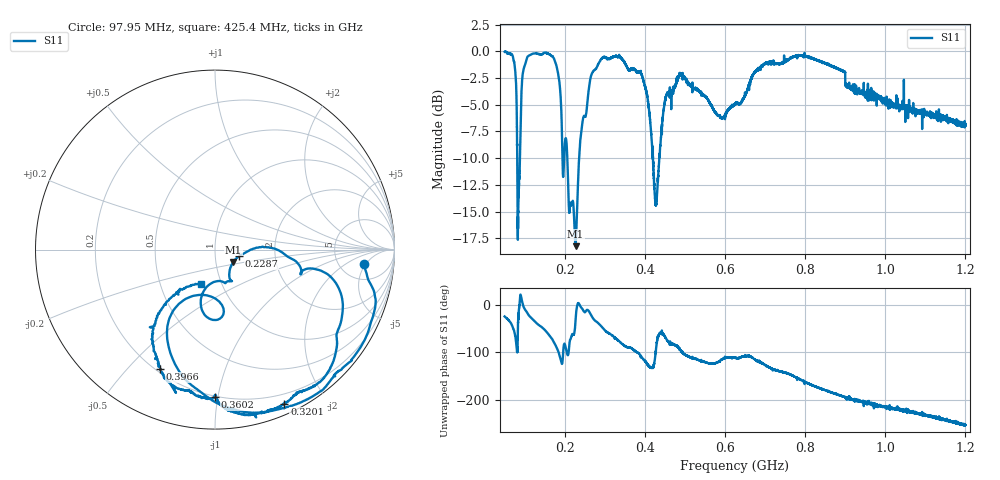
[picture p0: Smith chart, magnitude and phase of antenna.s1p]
! Calibrated high-resolution NanoVNA antenna measurement
# Hz S RI R 50
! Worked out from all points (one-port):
!   40001 points, 50 MHz to 1.2 GHz, reference 50 ohm
!   lowest |S11| = -18.2 dB at 227.1 MHz (marker M1), VSWR 1.28, Z = 60.7 - j8.44 ohm
!   |S11| at or under -10 dB: 81.51 MHz to 88.47 MHz (6.961 MHz wide, 8.19 % of centre); 206.5 MHz to 235.9 MHz (29.34 MHz wide, 13.3 % of centre); 420.8 MHz to 436.2 MHz (15.41 MHz wide, 3.6 % of centre)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
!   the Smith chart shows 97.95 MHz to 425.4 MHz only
!   S11 on the Smith chart (normalised r, x): 97.95 MHz: 8.44, -4.53; 228.7 MHz: 1.31, -0.10; 320.1 MHz: 0.10, -1.54; 360.2 MHz: 0.20, -0.98; 396.6 MHz: 0.22, -0.62; 425.4 MHz: 0.80, -0.32
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5e7  0.9028 -0.4177
7.383375e7  0.5082 -0.732
8.251625e7  0.013 -0.1607
8.8755e7  0.3238 0.1044
9.7955e7  0.8278 -0.0827
1.23025e8  0.8129 -0.5413
1.668688e8  0.3275 -0.8961
1.815025e8  -0.0459 -0.819
1.9375e8  -0.2011 -0.3021
2.270712e8  0.1018 -0.0685
2.286812e8  0.1344 -0.0372
2.414462e8  0.417 -0.0463
2.6689e8  0.7128 -0.3146
3.20135e8  0.3869 -0.8602
3.375e8  0.1964 -0.9206
3.60155e8  0.000227 -0.8198
3.965525e8  -0.3083 -0.6639
4.253888e8  -0.0765 -0.1899
4.4537e8  0.24 -0.4437
4.8125e8  0.0311 -0.7303
5.388938e8  -0.2999 -0.5669
6.25e8  -0.2104 -0.53
6.767212e8  -0.3547 -0.7328
7.6875e8  -0.8056 -0.4858
8.364275e8  -0.8975 -0.0773
9.125e8  -0.6487 0.2076
1.05625e9  -0.3836 0.3819
1.2e9  -0.1369 0.4269
